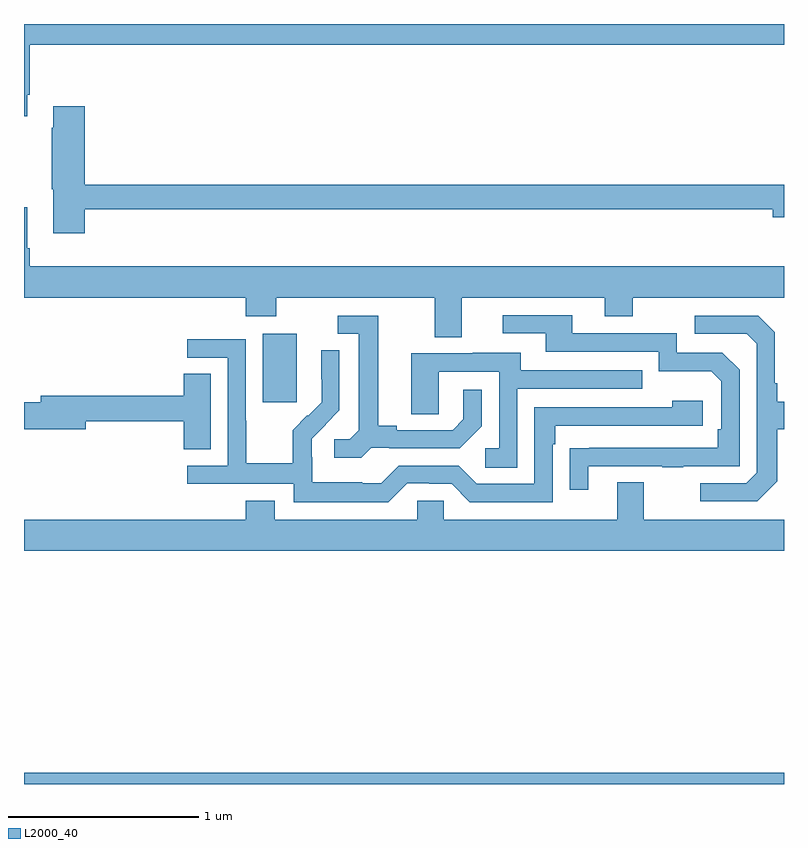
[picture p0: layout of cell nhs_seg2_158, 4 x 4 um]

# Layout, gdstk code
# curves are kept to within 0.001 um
import gdstk
lib = gdstk.Library(unit=1e-6, precision=1e-09)
def R(c, l, rs):  # rectangles x0, y0, x1, y1
    for r in rs: c.add(gdstk.rectangle(r[:2], r[2:], *l))
def P(c, l, *ps):  # polygons
    for p in ps: c.add(gdstk.Polygon(p, *l))
L2000_40 = (2000, 40)

nhs_seg2_158 = lib.new_cell('nhs_seg2_158')
R(nhs_seg2_158, L2000_40, [(119,587.8,123,587.86), (120.257,589.809,120.436,590.17)])
P(nhs_seg2_158, L2000_40, [(119.017,591.427),(119.03,591.427),(119.03,591.692),(123,591.692),(123,591.8),(119,591.8),(119,591.315),(119.017,591.315)],
  [(119.321,590.826),(122.942,590.826),(122.942,590.783),(123,590.783),(123,590.954),(119.321,590.954),(119.321,591.367),(119.153,591.367),(119.153,591.254),(119.146,591.254),(119.146,590.931),(119.153,590.931),(119.153,590.7),(119.321,590.7)],
  [(121.303,590.36),(122.057,590.36),(122.057,590.261),(122.205,590.261),(122.205,590.36),(123,590.36),(123,590.524),(119.03,590.524),(119.03,590.62),(119.017,590.62),(119.017,590.836),(119,590.836),(119,590.36),(120.167,590.36),(120.167,590.261),(120.327,590.261),(120.327,590.36),(121.163,590.36),(121.163,590.152),(121.303,590.152)],
  [(121.969,589.473),(122.359,589.473),(122.359,589.468),(122.471,589.468),(122.471,589.473),(122.766,589.473),(122.766,589.98),(122.676,590.07),(122.436,590.07),(122.436,590.172),(121.885,590.172),(121.885,590.268),(121.521,590.268),(121.521,590.172),(121.745,590.172),(121.745,590.076),(122.34,590.076),(122.34,589.973),(122.617,589.973),(122.67,589.92),(122.67,589.666),(122.65,589.666),(122.65,589.569),(121.873,589.568),(121.873,589.35),(121.969,589.35)],
  [(122.965,589.393),(122.965,589.666),(123,589.666),(123,589.813),(122.965,589.813),(122.965,589.909),(122.952,589.909),(122.952,590.178),(122.865,590.265),(122.529,590.265),(122.529,590.169),(122.805,590.169),(122.856,590.118),(122.856,589.437),(122.802,589.383),(122.559,589.383),(122.559,589.287),(122.859,589.287)],
  [(120.828,589.569),(120.922,589.569),(120.922,589.566),(121.294,589.566),(121.41,589.682),(121.41,589.876),(121.313,589.876),(121.313,589.719),(121.256,589.662),(120.961,589.662),(120.961,589.685),(120.865,589.685),(120.865,590.265),(120.651,590.265),(120.651,590.169),(120.761,590.169),(120.761,589.661),(120.714,589.614),(120.633,589.614),(120.633,589.517),(120.776,589.517)],
  [(121.017,589.383),(121.133,589.383),(121.133,589.38),(121.251,589.38),(121.347,589.284),(121.782,589.284),(121.782,589.589),(121.795,589.589),(121.795,589.686),(122.572,589.686),(122.572,589.816),(122.411,589.816),(122.411,589.782),(121.686,589.782),(121.686,589.38),(121.383,589.38),(121.287,589.476),(120.972,589.476),(120.879,589.383),(120.779,589.383),(120.779,589.387),(120.516,589.387),(120.516,589.521),(120.514,589.521),(120.514,589.618),(120.66,589.766),(120.66,590.084),(120.564,590.084),(120.564,589.93),(120.566,589.93),(120.566,589.808),(120.495,589.737),(120.492,589.74),(120.415,589.663),(120.415,589.489),(120.171,589.489),(120.171,589.712),(120.168,589.712),(120.168,590.142),(119.859,590.142),(119.859,590.043),(120.072,590.043),(120.072,589.476),(119.859,589.476),(119.859,589.38),(120.42,589.38),(120.42,589.283),(120.917,589.283)],
  [(121.596,589.881),(122.255,589.881),(122.255,589.977),(121.615,589.977),(121.615,590.071),(121.361,590.071),(121.361,590.067),(121.037,590.067),(121.037,589.747),(121.182,589.747),(121.182,589.971),(121.5,589.971),(121.5,589.566),(121.428,589.566),(121.428,589.465),(121.596,589.465)],
  [(119.983,589.958),(119.84,589.958),(119.84,589.844),(119.087,589.844),(119.087,589.808),(119,589.808),(119,589.666),(119.326,589.666),(119.326,589.708),(119.84,589.708),(119.84,589.561),(119.983,589.561)],
  [(123,589.192),(122.263,589.192),(122.263,589.387),(122.123,589.387),(122.123,589.192),(121.209,589.192),(121.209,589.29),(121.071,589.29),(121.071,589.192),(120.319,589.192),(120.319,589.291),(120.167,589.291),(120.167,589.192),(119,589.192),(119,589.028),(123,589.028)])

lib.write_gds('nhs_seg2_158.gds')
